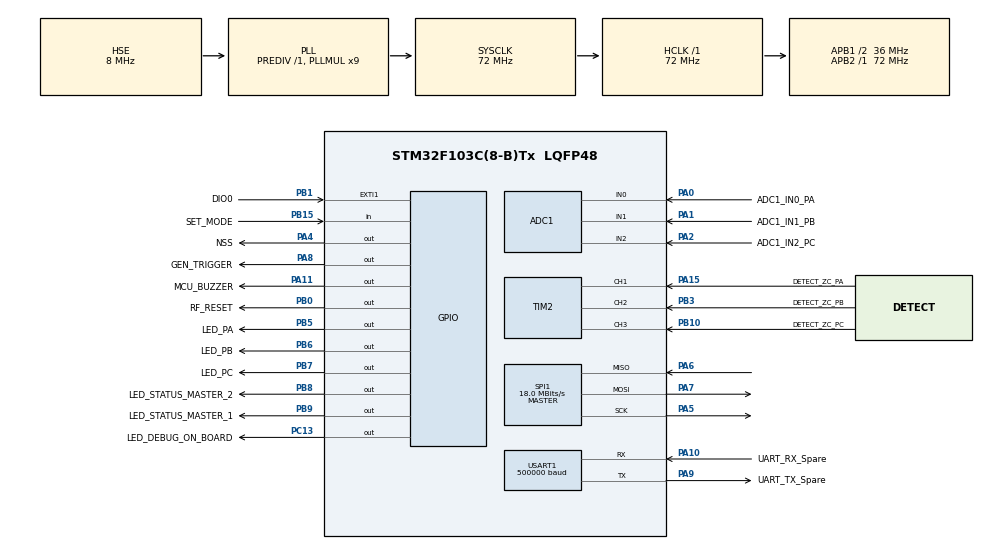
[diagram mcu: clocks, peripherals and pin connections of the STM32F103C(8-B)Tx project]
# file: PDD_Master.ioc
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ADC1.Channel-1\#ChannelRegularConversion=ADC_CHANNEL_0
ADC1.Channel-2\#ChannelRegularConversion=ADC_CHANNEL_1
ADC1.Channel-3\#ChannelRegularConversion=ADC_CHANNEL_2
ADC1.ContinuousConvMode=ENABLE
ADC1.NbrOfConversion=3
ADC1.NbrOfConversionFlag=1
ADC1.Rank-1\#ChannelRegularConversion=1
ADC1.Rank-2\#ChannelRegularConversion=2
ADC1.Rank-3\#ChannelRegularConversion=3
ADC1.SamplingTime-1\#ChannelRegularConversion=ADC_SAMPLETIME_55CYCLES_5
ADC1.SamplingTime-2\#ChannelRegularConversion=ADC_SAMPLETIME_55CYCLES_5
ADC1.SamplingTime-3\#ChannelRegularConversion=ADC_SAMPLETIME_55CYCLES_5
ADC1.master=1
Dma.ADC1.0.Direction=DMA_PERIPH_TO_MEMORY
Dma.ADC1.0.Instance=DMA1_Channel1
Dma.ADC1.0.MemDataAlignment=DMA_MDATAALIGN_HALFWORD
Dma.ADC1.0.MemInc=DMA_MINC_ENABLE
Dma.ADC1.0.Mode=DMA_CIRCULAR
Dma.ADC1.0.PeriphDataAlignment=DMA_PDATAALIGN_HALFWORD
Dma.ADC1.0.PeriphInc=DMA_PINC_DISABLE
Dma.ADC1.0.Priority=DMA_PRIORITY_LOW
Dma.Request0=ADC1
Dma.Request1=USART1_TX
Dma.USART1_TX.1.Direction=DMA_MEMORY_TO_PERIPH
Dma.USART1_TX.1.Instance=DMA1_Channel4
Dma.USART1_TX.1.MemDataAlignment=DMA_MDATAALIGN_BYTE
Dma.USART1_TX.1.MemInc=DMA_MINC_ENABLE
Dma.USART1_TX.1.Mode=DMA_NORMAL
Dma.USART1_TX.1.PeriphDataAlignment=DMA_PDATAALIGN_BYTE
Dma.USART1_TX.1.PeriphInc=DMA_PINC_DISABLE
Dma.USART1_TX.1.Priority=DMA_PRIORITY_LOW
Mcu.Family=STM32F1
Mcu.Name=STM32F103C(8-B)Tx
Mcu.Package=LQFP48
NVIC.DMA1_Channel1_IRQn=true\:0\:0\:false\:false\:true\:false\:true\:true
NVIC.DMA1_Channel4_IRQn=true\:0\:0\:false\:false\:true\:false\:true\:true
NVIC.EXTI1_IRQn=true\:0\:0\:false\:false\:true\:true\:true\:true
NVIC.PriorityGroup=NVIC_PRIORITYGROUP_4
NVIC.TIM1_UP_IRQn=true\:0\:0\:true\:false\:true\:true\:true\:true
NVIC.TIM3_IRQn=true\:1\:0\:true\:false\:true\:true\:true\:true
PA0-WKUP.GPIO_Label=ADC1_IN0_PA
PA0-WKUP.Signal=ADCx_IN0
PA1.GPIO_Label=ADC1_IN1_PB
PA1.Signal=ADCx_IN1
PA10.GPIO_Label=UART_RX_Spare
PA10.Mode=Asynchronous
PA10.Signal=USART1_RX
PA11.GPIO_Label=MCU_BUZZER
PA11.Signal=GPIO_Output
PA13.Mode=Serial_Wire
PA13.Signal=SYS_JTMS-SWDIO
PA14.Mode=Serial_Wire
PA14.Signal=SYS_JTCK-SWCLK
PA15.GPIO_Label=DETECT_ZC_PA
PA15.Signal=S_TIM2_CH1_ETR
PA2.GPIO_Label=ADC1_IN2_PC
PA2.Signal=ADCx_IN2
PA4.GPIO_Label=NSS
PA4.Signal=GPIO_Output
PA5.Mode=Full_Duplex_Master
PA5.Signal=SPI1_SCK
PA6.Mode=Full_Duplex_Master
PA6.Signal=SPI1_MISO
PA7.Mode=Full_Duplex_Master
PA7.Signal=SPI1_MOSI
PA8.GPIO_Label=GEN_TRIGGER
PA8.Signal=GPIO_Output
PA9.GPIO_Label=UART_TX_Spare
PA9.Mode=Asynchronous
PA9.Signal=USART1_TX
PB0.GPIO_Label=RF_RESET
PB0.Signal=GPIO_Output
PB1.GPIO_Label=DIO0
PB1.GPIO_PuPd=GPIO_PULLDOWN
PB1.Signal=GPXTI1
PB10.GPIO_Label=DETECT_ZC_PC
PB10.Signal=S_TIM2_CH3
PB15.GPIO_Label=SET_MODE
PB15.GPIO_PuPd=GPIO_PULLUP
PB15.Signal=GPIO_Input
PB3.GPIO_Label=DETECT_ZC_PB
PB3.Signal=S_TIM2_CH2
PB5.GPIO_Label=LED_PA
PB5.Signal=GPIO_Output
PB6.GPIO_Label=LED_PB
PB6.Signal=GPIO_Output
PB7.GPIO_Label=LED_PC
PB7.Signal=GPIO_Output
PB8.GPIO_Label=LED_STATUS_MASTER_2
PB8.Signal=GPIO_Output
PB9.GPIO_Label=LED_STATUS_MASTER_1
PB9.Signal=GPIO_Output
PC13-TAMPER-RTC.GPIO_Label=LED_DEBUG_ON_BOARD
PC13-TAMPER-RTC.Signal=GPIO_Output
PD0-OSC_IN.Mode=HSE-External-Oscillator
PD0-OSC_IN.Signal=RCC_OSC_IN
PD1-OSC_OUT.Mode=HSE-External-Oscillator
PD1-OSC_OUT.Signal=RCC_OSC_OUT
ProjectManager.HeapSize=0x200
ProjectManager.StackSize=0x400
ProjectManager.TargetToolchain=MDK-ARM V5.32
RCC.ADCPresc=RCC_ADCPCLK2_DIV6
RCC.AHBFreq_Value=72000000
RCC.APB1CLKDivider=RCC_HCLK_DIV2
RCC.APB1Freq_Value=36000000
RCC.APB1TimFreq_Value=72000000
RCC.APB2Freq_Value=72000000
RCC.APB2TimFreq_Value=72000000
RCC.HCLKFreq_Value=72000000
RCC.PLLMUL=RCC_PLL_MUL9
RCC.PLLSourceVirtual=RCC_PLLSOURCE_HSE
RCC.SYSCLKFreq_VALUE=72000000
RCC.SYSCLKSource=RCC_SYSCLKSOURCE_PLLCLK
RCC.USBFreq_Value=72000000
SH.ADCx_IN0.0=ADC1_IN0,IN0
SH.ADCx_IN1.0=ADC1_IN1,IN1
SH.ADCx_IN2.0=ADC1_IN2,IN2
SH.S_TIM2_CH1_ETR.0=TIM2_CH1,Input_Capture1_from_TI1
SH.S_TIM2_CH2.0=TIM2_CH2,Input_Capture2_from_TI2
SH.S_TIM2_CH3.0=TIM2_CH3,Input_Capture3_from_TI3
SPI1.BaudRatePrescaler=SPI_BAUDRATEPRESCALER_4
SPI1.CalculateBaudRate=18.0 MBits/s
SPI1.Direction=SPI_DIRECTION_2LINES
SPI1.Mode=SPI_MODE_MASTER
SPI1.VirtualType=VM_MASTER
TIM1.AutoReloadPreload=TIM_AUTORELOAD_PRELOAD_ENABLE
TIM1.Period=49
TIM1.Prescaler=71
TIM2.Channel-Input_Capture1_from_TI1=TIM_CHANNEL_1
TIM2.Channel-Input_Capture2_from_TI2=TIM_CHANNEL_2
TIM2.Channel-Input_Capture3_from_TI3=TIM_CHANNEL_3
TIM3.Prescaler=71
USART1.BaudRate=500000
USART1.VirtualMode=VM_ASYNC
VP_TIM1_VS_ClockSourceINT.Mode=Internal
VP_TIM3_VS_ClockSourceINT.Mode=Internal
board=custom

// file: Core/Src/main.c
/* USER CODE BEGIN Header */
/**
  ******************************************************************************
  * @file           : main.c
  * @brief          : Main program body
  ******************************************************************************
  * @attention
  *
  * Copyright (c) 2026 STMicroelectronics.
  * All rights reserved.
  *
  * This software is licensed under terms that can be found in the LICENSE file
  * in the root directory of this software component.
  * If no LICENSE file comes with this software, it is provided AS-IS.
  *
  ******************************************************************************
  */
/* USER CODE END Header */
#include "main.h"

/* USER CODE BEGIN Includes */

#include "LoRa.h"
#include <string.h>

#include <stdio.h>
#include <stdbool.h>

#include "flash.h"

/* USER CODE END Includes */

/* USER CODE BEGIN PD */

#define ON_LED_DEBUG( )	HAL_GPIO_WritePin(LED_DEBUG_ON_BOARD_GPIO_Port, LED_DEBUG_ON_BOARD_Pin, GPIO_PIN_SET)
#define OFF_LED_DEBUG( )	HAL_GPIO_WritePin(LED_DEBUG_ON_BOARD_GPIO_Port, LED_DEBUG_ON_BOARD_Pin, GPIO_PIN_RESET)
#define TOGGLE_LED_DEBUG( )	HAL_GPIO_TogglePin(LED_DEBUG_ON_BOARD_GPIO_Port, LED_DEBUG_ON_BOARD_Pin)

#define ON_LED_PA( )	HAL_GPIO_WritePin(LED_PA_GPIO_Port, LED_PA_Pin, GPIO_PIN_SET);
#define OFF_LED_PA( )	HAL_GPIO_WritePin(LED_PA_GPIO_Port, LED_PA_Pin, GPIO_PIN_RESET);

#define ON_LED_PB( )	HAL_GPIO_WritePin(LED_PB_GPIO_Port, LED_PB_Pin, GPIO_PIN_SET);
#define OFF_LED_PB( )	HAL_GPIO_WritePin(LED_PB_GPIO_Port, LED_PB_Pin, GPIO_PIN_RESET);

#define ON_LED_PC( )	HAL_GPIO_WritePin(LED_PC_GPIO_Port, LED_PC_Pin, GPIO_PIN_SET);
#define OFF_LED_PC( )	HAL_GPIO_WritePin(LED_PC_GPIO_Port, LED_PC_Pin, GPIO_PIN_RESET);

// Buzzer active
#define BUZZER_ON()  HAL_GPIO_WritePin(MCU_BUZZER_GPIO_Port, MCU_BUZZER_Pin, GPIO_PIN_SET);
#define BUZZER_OFF()  HAL_GPIO_WritePin(MCU_BUZZER_GPIO_Port, MCU_BUZZER_Pin, GPIO_PIN_RESET);

#define MA_SIZE_PHASE_ZC 5

//#define ZERO_PA 1984
//#define ZERO_PB 1984
//#define ZERO_PC 1978

#define CYCLE_GRID 20000

#define RANGE_GRID_L 19000        // 5%
#define RANGE_GRID_H 21000

#define TIME_DET_PHASE 100   // 2s
#define LOSS_GRID_TIMEOUT 2500   //   100ms/0.1ms = 1000
#define TIME_SEND_CYCLE   2000000   // 2s

typedef struct
{
    uint16_t buf[MA_SIZE_PHASE_ZC];
    uint32_t sum;
    uint8_t index;
} MA_Filter_t;

typedef enum
{
  MODE_OFF = 0,
  MODE_STS_1 = 1,
  MODE_STS_2 = 2,

  MODE_SET_FLASH_1 = 3,
  MODE_FLASH_1 = 4,

  MODE_SET_FLASH_2 = 5,
  MODE_FLASH_2 = 6,
}MODE_LED_e;

typedef enum
{
  BUZZER_OFF = 0,
  BUZZER_ON = 1,
  BUZZER_SET_TRIGGER_PIP = 2,
  BUZZER_TRIGGER_PIP = 3,
}MODE_BUZZER_e;

typedef enum
{
  WAIT_NEG = 1,
  WAIT_ZC_UP = 2,
  WAIT_POS = 3,
  LOSS_GRID = 4,
}MODE_DETECT_e;

typedef struct {
  volatile uint16_t* adc_raw_ptr;       // Trỏ tới adc_raw[x]
  MA_Filter_t filter;         // Trỏ tới bộ lọc tương ứng
  uint16_t zero_val;     // Giá trị ZERO_PX
  volatile bool phase_detected;
  volatile uint16_t p_cur;
  volatile uint16_t p_prev;
  volatile uint16_t cnt_detect;
  volatile uint32_t last_zc;
  volatile uint32_t now_zc;
  volatile uint32_t interval_zc;
  volatile bool has_new_edge;          // Cờ báo hiệu có cạnh lên mới cho Main xử lý

  volatile MODE_DETECT_e mode_det;
  volatile uint16_t cnt_det_loss_grid;
} Phase_Data_t;

/* USER CODE END PD */

ADC_HandleTypeDef hadc1;
DMA_HandleTypeDef hdma_adc1;

SPI_HandleTypeDef hspi1;

TIM_HandleTypeDef htim1;
TIM_HandleTypeDef htim2;
TIM_HandleTypeDef htim3;

UART_HandleTypeDef huart1;
DMA_HandleTypeDef hdma_usart1_tx;

/* USER CODE BEGIN PV */

// Count variables and flags
uint32_t tick_master = 0;
volatile uint32_t cnt_send_cmd = 0;
volatile uint32_t ovf_tim3 = 0;

uint32_t cycle_send = TIME_SEND_CYCLE/50;

volatile uint8_t flag_cnt_50us = 0;
volatile bool flag_enable_zc = false;

// LED
volatile MODE_LED_e mode_led = MODE_OFF;
volatile uint16_t cnt_handle_led = 0;

//BUZZER PASSIVE
volatile MODE_BUZZER_e mode_buzzer = BUZZER_OFF;
volatile uint16_t cnt_handle_buzzer = 0;

//LoRa variables
LoRa vLoRa;
uint16_t config_lora = 0xFA;

uint8_t TX_Lora_buff[12];
uint8_t RX_LoRa_buff[12];

uint8_t send_ok = 0;
uint16_t cnt_sendOK = 0;
uint16_t cnt_recOK = 0;
volatile uint16_t num_RX_irq_LoRa = 0;
volatile bool flag_Lora_Rx = false;
volatile bool flag_send_lora = false;

// Phase variables
Phase_Data_t phaseA, phaseB, phaseC;

volatile uint16_t delta_pAB = 0, delta_pAC = 0;

// ADC measurement variables
volatile uint16_t adc_raw[3];

// For calib ADC at zeropoint
uint8_t flag_get_zero = 0;
uint16_t offset_pA = 0;
uint16_t offset_pB = 0;
uint16_t offset_pC = 0;

// For logging
uint32_t stt = 0;
uint8_t flag_tx_log = 0;
uint32_t cnt_log = 0;
char uart_tx_log[100];

// temp variables

/* USER CODE END PV */

void SystemClock_Config(void);
static void MX_GPIO_Init(void);
static void MX_DMA_Init(void);
static void MX_TIM1_Init(void);
static void MX_USART1_UART_Init(void);
static void MX_ADC1_Init(void);
static void MX_SPI1_Init(void);
static void MX_TIM3_Init(void);
static void MX_TIM2_Init(void);

/* USER CODE BEGIN 0 */
void Get_Offset(void);
void Handle_LED(void);
void Handle_Buzzer(void);
void Handle_LoRa_TX(void);
void OFF_LED_STATUS(void);
void ON_LED_STATUS_1(void);
void ON_LED_STATUS_2(void);
void MA_Init(MA_Filter_t *f, uint16_t init_value);
uint16_t MA_Update(MA_Filter_t *f, uint16_t sample);

uint32_t GetTimeUs(){
  uint32_t ovf1, ovf2;
  uint32_t cnt;

  do {
    ovf1 = ovf_tim3;
    cnt = TIM3->CNT;
    ovf2 = ovf_tim3;
  } while (ovf1 != ovf2); // Guard against rollover during reading

  return (ovf1 << 16) + cnt;
}

void Phase_init(Phase_Data_t* p_data, volatile  uint16_t* adc_raw_ptr, uint16_t zero_val){
    p_data->adc_raw_ptr = adc_raw_ptr;
    p_data->zero_val = zero_val;
    p_data->p_cur = 0;
    p_data->p_prev = 0;
    p_data->cnt_detect = 0;
    p_data->last_zc = 0;
    p_data->now_zc = 0;
    p_data->interval_zc = 0;
    p_data->phase_detected = false;
    p_data->has_new_edge = false;
    MA_Init(&p_data->filter, zero_val);

    p_data->mode_det = WAIT_NEG;
    p_data->cnt_det_loss_grid = 0;
}

static inline void Process_Phase_ZC(Phase_Data_t *phase, uint32_t now_time)
{
    phase->p_cur = MA_Update(&phase->filter, *(phase->adc_raw_ptr));

    if(phase->phase_detected){
      if(++phase->cnt_det_loss_grid >= LOSS_GRID_TIMEOUT) {
        phase->mode_det = LOSS_GRID;
        phase->cnt_det_loss_grid = 0;
      }
    }

    switch(phase->mode_det)
    {
      case WAIT_NEG:
        if (phase->p_cur < phase->zero_val - 100)
        {
          if(phase->phase_detected == true){
            phase->mode_det = WAIT_ZC_UP;
          }else{
            phase->mode_det = WAIT_POS;
          }
        }
        break;
      case WAIT_POS:
        if (phase->p_cur > phase->zero_val + 100)
        {
          if(++phase->cnt_detect == TIME_DET_PHASE){
            phase->phase_detected = true;
						mode_buzzer = BUZZER_SET_TRIGGER_PIP;   // only on MASTER
          }
          phase->mode_det = WAIT_NEG;
        }
        break;
      case WAIT_ZC_UP:
			{
        uint32_t itv_lZC = now_time - phase->last_zc;

        /* Rising Zero-Cross */
        if (phase->p_prev <= phase->zero_val && phase->p_cur>phase->zero_val)
        {
            /* First edge after startup or loss-grid */
            if (phase->last_zc == 0U)
            {
                phase->last_zc = now_time;
            }
            else
            {
                while(itv_lZC > RANGE_GRID_H){
                  itv_lZC -= CYCLE_GRID;
                }
                if ((itv_lZC >= RANGE_GRID_L) && (itv_lZC <= RANGE_GRID_H))
                {
                  phase->now_zc       = now_time;
                  phase->interval_zc  = itv_lZC;

                  phase->has_new_edge = true;
                  phase->last_zc = now_time;
                  phase->cnt_det_loss_grid = 0;
                }
            }
            phase->mode_det = WAIT_NEG;
        }
        phase->p_prev = phase->p_cur;
        break;
			}
      case LOSS_GRID:
        phase->phase_detected = false;
        phase->cnt_detect  = 0;
        phase->last_zc     = 0;
        phase->now_zc = 0;
        phase->mode_det = WAIT_NEG;
        break;
    }
}

void HAL_TIM_PeriodElapsedCallback(TIM_HandleTypeDef *htim)
{
  if (htim->Instance == TIM1) //50us
  {
    if(phaseA.phase_detected) cnt_send_cmd++;
    else cnt_send_cmd = 0;
    cnt_handle_led++;
    cnt_handle_buzzer++;

		if(++flag_cnt_50us >= 2)    //100us
    {
      uint32_t now_time = GetTimeUs();
      flag_cnt_50us = 0;

      Process_Phase_ZC(&phaseA, now_time);
      Process_Phase_ZC(&phaseB, now_time);
      Process_Phase_ZC(&phaseC, now_time);

      // Nếu Pha A có cạnh lên và đang đợi kiểm tra đồng bộ ZC
      if (phaseA.has_new_edge)
      {
        phaseA.has_new_edge = false; // Xóa cờ ngay
        if (flag_enable_zc)
        {
          flag_enable_zc = false;
          if (phaseA.phase_detected)
          {
            delta_pAB = 1;
            delta_pAC = 2;
            if(phaseB.phase_detected && phaseC.phase_detected)
            {
              delta_pAB = phaseA.now_zc - phaseB.last_zc;
              delta_pAC = phaseA.now_zc - phaseC.last_zc;
            }
            flag_send_lora = true;
          }
        }
      }
      phaseB.has_new_edge = false;
      phaseC.has_new_edge = false;
    }
  }

  if(htim->Instance == TIM3)
  {
    ovf_tim3++;
  }
}

void HAL_GPIO_EXTI_Callback(uint16_t GPIO_Pin)
	{
		/* Prevent unused argument(s) compilation warning */
		UNUSED(GPIO_Pin);

//		if(GPIO_Pin == vLoRa.DIO0_pin)
//		{
//			num_RX_irq_LoRa++;
//			flag_Lora_Rx = 1;
//		}
	}

/* USER CODE END 0 */

int main(void)
{

  /* MCU Configuration--------------------------------------------------------*/

  /* Reset of all peripherals, Initializes the Flash interface and the Systick. */
  HAL_Init();

  /* Configure the system clock */
  SystemClock_Config();

  /* Initialize all configured peripherals */
  MX_GPIO_Init();
  MX_DMA_Init();
  MX_TIM1_Init();
  MX_USART1_UART_Init();
  MX_ADC1_Init();
  MX_SPI1_Init();
  MX_TIM3_Init();
  MX_TIM2_Init();
  /* USER CODE BEGIN 2 */
  ON_LED_DEBUG();
  ON_LED_STATUS_1();

	ON_LED_PA();
  ON_LED_PB();
  ON_LED_PC();

	Lora_Init(&vLoRa, &hspi1, 912);
	LoRa_reset(&vLoRa);
	config_lora = LoRa_Config(&vLoRa);

	while(config_lora!=0x00C8){
		ON_LED_DEBUG();
    Lora_Init(&vLoRa, &hspi1, 912);
	  LoRa_reset(&vLoRa);
    config_lora = LoRa_Config(&vLoRa);
		OFF_LED_DEBUG();
		HAL_Delay(15);
	}
  LoRa_startReceiving(&vLoRa);
  // Config Lora ok
  OFF_LED_DEBUG();
  OFF_LED_STATUS();

	Load_Infor_Func();

	Phase_init(&phaseA, &adc_raw[0], vInfor_cache.zero_pA);
  Phase_init(&phaseB, &adc_raw[1], vInfor_cache.zero_pB);
  Phase_init(&phaseC, &adc_raw[2], vInfor_cache.zero_pC);

  HAL_ADC_Start_DMA(&hadc1, (uint32_t*)&adc_raw, 3);

  BUZZER_ON(); HAL_Delay(30);
	BUZZER_OFF(); HAL_Delay(100);
  OFF_LED_PA();
	BUZZER_ON(); HAL_Delay(30);
	BUZZER_OFF(); HAL_Delay(100);
  OFF_LED_PB();
	BUZZER_ON(); HAL_Delay(30);
	BUZZER_OFF(); HAL_Delay(100);
  OFF_LED_PC();

  HAL_TIM_Base_Start_IT(&htim1);
  HAL_TIM_Base_Start_IT(&htim3);

  uint16_t cnt_get_zero = 0;
	while(HAL_GPIO_ReadPin(SET_MODE_GPIO_Port, SET_MODE_Pin) == GPIO_PIN_RESET){
		if(++cnt_get_zero == 3000){
			flag_get_zero = true;
			break;
		}
	}
  HAL_GPIO_WritePin(GEN_TRIGGER_GPIO_Port, GEN_TRIGGER_Pin, GPIO_PIN_RESET);

  /* USER CODE END 2 */

  /* Infinite loop */
  while (1)
  {

    /* USER CODE BEGIN 3 */
		tick_master++;

    // Set Flag send command to LoRa module
		if(cnt_send_cmd >= cycle_send){
			cnt_send_cmd = 0;
			//HAL_GPIO_TogglePin(LED_DEBUG_ON_BOARD_GPIO_Port, LED_DEBUG_ON_BOARD_Pin);
      flag_enable_zc = true;
    }

    // Send Lora data ------------------------------------------------------------------
		Handle_LoRa_TX();

    // Handle LED status
    Handle_LED();

    // Handle Buzzer
    Handle_Buzzer();

    // Get offset for ADC measurement
    Get_Offset();

  }
  /* USER CODE END 3 */
}

void SystemClock_Config(void)
{
  RCC_OscInitTypeDef RCC_OscInitStruct = {0};
  RCC_ClkInitTypeDef RCC_ClkInitStruct = {0};
  RCC_PeriphCLKInitTypeDef PeriphClkInit = {0};

  /** Initializes the RCC Oscillators according to the specified parameters
  * in the RCC_OscInitTypeDef structure.
  */
  RCC_OscInitStruct.OscillatorType = RCC_OSCILLATORTYPE_HSE;
  RCC_OscInitStruct.HSEState = RCC_HSE_ON;
  RCC_OscInitStruct.HSEPredivValue = RCC_HSE_PREDIV_DIV1;
  RCC_OscInitStruct.HSIState = RCC_HSI_ON;
  RCC_OscInitStruct.PLL.PLLState = RCC_PLL_ON;
  RCC_OscInitStruct.PLL.PLLSource = RCC_PLLSOURCE_HSE;
  RCC_OscInitStruct.PLL.PLLMUL = RCC_PLL_MUL9;
  if (HAL_RCC_OscConfig(&RCC_OscInitStruct) != HAL_OK)
  {
    Error_Handler();
  }

  /** Initializes the CPU, AHB and APB buses clocks
  */
  RCC_ClkInitStruct.ClockType = RCC_CLOCKTYPE_HCLK|RCC_CLOCKTYPE_SYSCLK
                              |RCC_CLOCKTYPE_PCLK1|RCC_CLOCKTYPE_PCLK2;
  RCC_ClkInitStruct.SYSCLKSource = RCC_SYSCLKSOURCE_PLLCLK;
  RCC_ClkInitStruct.AHBCLKDivider = RCC_SYSCLK_DIV1;
  RCC_ClkInitStruct.APB1CLKDivider = RCC_HCLK_DIV2;
  RCC_ClkInitStruct.APB2CLKDivider = RCC_HCLK_DIV1;

  if (HAL_RCC_ClockConfig(&RCC_ClkInitStruct, FLASH_LATENCY_2) != HAL_OK)
  {
    Error_Handler();
  }
  PeriphClkInit.PeriphClockSelection = RCC_PERIPHCLK_ADC;
  PeriphClkInit.AdcClockSelection = RCC_ADCPCLK2_DIV6;
  if (HAL_RCCEx_PeriphCLKConfig(&PeriphClkInit) != HAL_OK)
  {
    Error_Handler();
  }
}

static void MX_ADC1_Init(void)
{

  ADC_ChannelConfTypeDef sConfig = {0};

  /** Common config
  */
  hadc1.Instance = ADC1;
  hadc1.Init.ScanConvMode = ADC_SCAN_ENABLE;
  hadc1.Init.ContinuousConvMode = ENABLE;
  hadc1.Init.DiscontinuousConvMode = DISABLE;
  hadc1.Init.ExternalTrigConv = ADC_SOFTWARE_START;
  hadc1.Init.DataAlign = ADC_DATAALIGN_RIGHT;
  hadc1.Init.NbrOfConversion = 3;
  if (HAL_ADC_Init(&hadc1) != HAL_OK)
  {
    Error_Handler();
  }

  /** Configure Regular Channel
  */
  sConfig.Channel = ADC_CHANNEL_0;
  sConfig.Rank = ADC_REGULAR_RANK_1;
  sConfig.SamplingTime = ADC_SAMPLETIME_55CYCLES_5;
  if (HAL_ADC_ConfigChannel(&hadc1, &sConfig) != HAL_OK)
  {
    Error_Handler();
  }

  /** Configure Regular Channel
  */
  sConfig.Channel = ADC_CHANNEL_1;
  sConfig.Rank = ADC_REGULAR_RANK_2;
  if (HAL_ADC_ConfigChannel(&hadc1, &sConfig) != HAL_OK)
  {
    Error_Handler();
  }

  /** Configure Regular Channel
  */
  sConfig.Channel = ADC_CHANNEL_2;
  sConfig.Rank = ADC_REGULAR_RANK_3;
  if (HAL_ADC_ConfigChannel(&hadc1, &sConfig) != HAL_OK)
  {
    Error_Handler();
  }

}

static void MX_SPI1_Init(void)
{

  /* SPI1 parameter configuration*/
  hspi1.Instance = SPI1;
  hspi1.Init.Mode = SPI_MODE_MASTER;
  hspi1.Init.Direction = SPI_DIRECTION_2LINES;
  hspi1.Init.DataSize = SPI_DATASIZE_8BIT;
  hspi1.Init.CLKPolarity = SPI_POLARITY_LOW;
  hspi1.Init.CLKPhase = SPI_PHASE_1EDGE;
  hspi1.Init.NSS = SPI_NSS_SOFT;
  hspi1.Init.BaudRatePrescaler = SPI_BAUDRATEPRESCALER_4;
  hspi1.Init.FirstBit = SPI_FIRSTBIT_MSB;
  hspi1.Init.TIMode = SPI_TIMODE_DISABLE;
  hspi1.Init.CRCCalculation = SPI_CRCCALCULATION_DISABLE;
  hspi1.Init.CRCPolynomial = 10;
  if (HAL_SPI_Init(&hspi1) != HAL_OK)
  {
    Error_Handler();
  }

}

static void MX_TIM1_Init(void)
{

  TIM_ClockConfigTypeDef sClockSourceConfig = {0};
  TIM_MasterConfigTypeDef sMasterConfig = {0};

  htim1.Instance = TIM1;
  htim1.Init.Prescaler = 71;
  htim1.Init.CounterMode = TIM_COUNTERMODE_UP;
  htim1.Init.Period = 49;
  htim1.Init.ClockDivision = TIM_CLOCKDIVISION_DIV1;
  htim1.Init.RepetitionCounter = 0;
  htim1.Init.AutoReloadPreload = TIM_AUTORELOAD_PRELOAD_ENABLE;
  if (HAL_TIM_Base_Init(&htim1) != HAL_OK)
  {
    Error_Handler();
  }
  sClockSourceConfig.ClockSource = TIM_CLOCKSOURCE_INTERNAL;
  if (HAL_TIM_ConfigClockSource(&htim1, &sClockSourceConfig) != HAL_OK)
  {
    Error_Handler();
  }
  sMasterConfig.MasterOutputTrigger = TIM_TRGO_RESET;
  sMasterConfig.MasterSlaveMode = TIM_MASTERSLAVEMODE_DISABLE;
  if (HAL_TIMEx_MasterConfigSynchronization(&htim1, &sMasterConfig) != HAL_OK)
  {
    Error_Handler();
  }

}

static void MX_TIM2_Init(void)
{

  TIM_MasterConfigTypeDef sMasterConfig = {0};
  TIM_IC_InitTypeDef sConfigIC = {0};

  htim2.Instance = TIM2;
  htim2.Init.Prescaler = 0;
  htim2.Init.CounterMode = TIM_COUNTERMODE_UP;
  htim2.Init.Period = 65535;
  htim2.Init.ClockDivision = TIM_CLOCKDIVISION_DIV1;
  htim2.Init.AutoReloadPreload = TIM_AUTORELOAD_PRELOAD_DISABLE;
  if (HAL_TIM_IC_Init(&htim2) != HAL_OK)
  {
    Error_Handler();
  }
  sMasterConfig.MasterOutputTrigger = TIM_TRGO_RESET;
  sMasterConfig.MasterSlaveMode = TIM_MASTERSLAVEMODE_DISABLE;
  if (HAL_TIMEx_MasterConfigSynchronization(&htim2, &sMasterConfig) != HAL_OK)
  {
    Error_Handler();
  }
  sConfigIC.ICPolarity = TIM_INPUTCHANNELPOLARITY_RISING;
  sConfigIC.ICSelection = TIM_ICSELECTION_DIRECTTI;
  sConfigIC.ICPrescaler = TIM_ICPSC_DIV1;
  sConfigIC.ICFilter = 0;
  if (HAL_TIM_IC_ConfigChannel(&htim2, &sConfigIC, TIM_CHANNEL_1) != HAL_OK)
  {
    Error_Handler();
  }
  if (HAL_TIM_IC_ConfigChannel(&htim2, &sConfigIC, TIM_CHANNEL_2) != HAL_OK)
  {
    Error_Handler();
  }
  if (HAL_TIM_IC_ConfigChannel(&htim2, &sConfigIC, TIM_CHANNEL_3) != HAL_OK)
  {
    Error_Handler();
  }

}

static void MX_TIM3_Init(void)
{

  TIM_ClockConfigTypeDef sClockSourceConfig = {0};
  TIM_MasterConfigTypeDef sMasterConfig = {0};

  htim3.Instance = TIM3;
  htim3.Init.Prescaler = 71;
  htim3.Init.CounterMode = TIM_COUNTERMODE_UP;
  htim3.Init.Period = 65535;
  htim3.Init.ClockDivision = TIM_CLOCKDIVISION_DIV1;
  htim3.Init.AutoReloadPreload = TIM_AUTORELOAD_PRELOAD_DISABLE;
  if (HAL_TIM_Base_Init(&htim3) != HAL_OK)
  {
    Error_Handler();
  }
  sClockSourceConfig.ClockSource = TIM_CLOCKSOURCE_INTERNAL;
  if (HAL_TIM_ConfigClockSource(&htim3, &sClockSourceConfig) != HAL_OK)
  {
    Error_Handler();
  }
  sMasterConfig.MasterOutputTrigger = TIM_TRGO_RESET;
  sMasterConfig.MasterSlaveMode = TIM_MASTERSLAVEMODE_DISABLE;
  if (HAL_TIMEx_MasterConfigSynchronization(&htim3, &sMasterConfig) != HAL_OK)
  {
    Error_Handler();
  }

}

static void MX_USART1_UART_Init(void)
{

  huart1.Instance = USART1;
  huart1.Init.BaudRate = 500000;
  huart1.Init.WordLength = UART_WORDLENGTH_8B;
  huart1.Init.StopBits = UART_STOPBITS_1;
  huart1.Init.Parity = UART_PARITY_NONE;
  huart1.Init.Mode = UART_MODE_TX_RX;
  huart1.Init.HwFlowCtl = UART_HWCONTROL_NONE;
  huart1.Init.OverSampling = UART_OVERSAMPLING_16;
  if (HAL_UART_Init(&huart1) != HAL_OK)
  {
    Error_Handler();
  }

}

static void MX_DMA_Init(void)
{

  /* DMA controller clock enable */
  __HAL_RCC_DMA1_CLK_ENABLE();

  /* DMA interrupt init */
  /* DMA1_Channel1_IRQn interrupt configuration */
  HAL_NVIC_SetPriority(DMA1_Channel1_IRQn, 0, 0);
  HAL_NVIC_EnableIRQ(DMA1_Channel1_IRQn);
  /* DMA1_Channel4_IRQn interrupt configuration */
  HAL_NVIC_SetPriority(DMA1_Channel4_IRQn, 0, 0);
  HAL_NVIC_EnableIRQ(DMA1_Channel4_IRQn);

}

static void MX_GPIO_Init(void)
{
  GPIO_InitTypeDef GPIO_InitStruct = {0};

  /* GPIO Ports Clock Enable */
  __HAL_RCC_GPIOC_CLK_ENABLE();
  __HAL_RCC_GPIOD_CLK_ENABLE();
  __HAL_RCC_GPIOA_CLK_ENABLE();
  __HAL_RCC_GPIOB_CLK_ENABLE();

  /*Configure GPIO pin Output Level */
  HAL_GPIO_WritePin(LED_DEBUG_ON_BOARD_GPIO_Port, LED_DEBUG_ON_BOARD_Pin, GPIO_PIN_RESET);

  /*Configure GPIO pin Output Level */
  HAL_GPIO_WritePin(GPIOA, NSS_Pin|GEN_TRIGGER_Pin|MCU_BUZZER_Pin, GPIO_PIN_RESET);

  /*Configure GPIO pin Output Level */
  HAL_GPIO_WritePin(GPIOB, RF_RESET_Pin|LED_PA_Pin|LED_PB_Pin|LED_PC_Pin
                          |LED_STATUS_MASTER_2_Pin|LED_STATUS_MASTER_1_Pin, GPIO_PIN_RESET);

  /*Configure GPIO pin : LED_DEBUG_ON_BOARD_Pin */
  GPIO_InitStruct.Pin = LED_DEBUG_ON_BOARD_Pin;
  GPIO_InitStruct.Mode = GPIO_MODE_OUTPUT_PP;
  GPIO_InitStruct.Pull = GPIO_NOPULL;
  GPIO_InitStruct.Speed = GPIO_SPEED_FREQ_LOW;
  HAL_GPIO_Init(LED_DEBUG_ON_BOARD_GPIO_Port, &GPIO_InitStruct);

  /*Configure GPIO pins : NSS_Pin GEN_TRIGGER_Pin MCU_BUZZER_Pin */
  GPIO_InitStruct.Pin = NSS_Pin|GEN_TRIGGER_Pin|MCU_BUZZER_Pin;
  GPIO_InitStruct.Mode = GPIO_MODE_OUTPUT_PP;
  GPIO_InitStruct.Pull = GPIO_NOPULL;
  GPIO_InitStruct.Speed = GPIO_SPEED_FREQ_LOW;
  HAL_GPIO_Init(GPIOA, &GPIO_InitStruct);

  /*Configure GPIO pins : RF_RESET_Pin LED_PA_Pin LED_PB_Pin LED_PC_Pin
                           LED_STATUS_MASTER_2_Pin LED_STATUS_MASTER_1_Pin */
  GPIO_InitStruct.Pin = RF_RESET_Pin|LED_PA_Pin|LED_PB_Pin|LED_PC_Pin
                          |LED_STATUS_MASTER_2_Pin|LED_STATUS_MASTER_1_Pin;
  GPIO_InitStruct.Mode = GPIO_MODE_OUTPUT_PP;
  GPIO_InitStruct.Pull = GPIO_NOPULL;
  GPIO_InitStruct.Speed = GPIO_SPEED_FREQ_LOW;
  HAL_GPIO_Init(GPIOB, &GPIO_InitStruct);

  /*Configure GPIO pin : DIO0_Pin */
  GPIO_InitStruct.Pin = DIO0_Pin;
  GPIO_InitStruct.Mode = GPIO_MODE_IT_RISING;
  GPIO_InitStruct.Pull = GPIO_PULLDOWN;
  HAL_GPIO_Init(DIO0_GPIO_Port, &GPIO_InitStruct);

  /*Configure GPIO pin : SET_MODE_Pin */
  GPIO_InitStruct.Pin = SET_MODE_Pin;
  GPIO_InitStruct.Mode = GPIO_MODE_INPUT;
  GPIO_InitStruct.Pull = GPIO_PULLUP;
  HAL_GPIO_Init(SET_MODE_GPIO_Port, &GPIO_InitStruct);

  /* EXTI interrupt init*/
  HAL_NVIC_SetPriority(EXTI1_IRQn, 0, 0);
  HAL_NVIC_EnableIRQ(EXTI1_IRQn);

}

/* USER CODE BEGIN 4 */

void Get_Offset(void)
{
  if(flag_get_zero == 0) return;
	flag_get_zero = 0;

  uint32_t sumA = 0;
  uint32_t sumB = 0;
  uint32_t sumC = 0;

  for(int i=0; i<1000; i++)
  {
    sumA += adc_raw[0];
    sumB += adc_raw[1];
    sumC += adc_raw[2];
    HAL_Delay(1);
  }

  offset_pA = sumA / 1000;
  offset_pB = sumB / 1000;
  offset_pC = sumC / 1000;

  vInfor_cache.zero_pA = offset_pA;
  vInfor_cache.zero_pB = offset_pB;
  vInfor_cache.zero_pC = offset_pC;
  if(Update_NEW_Infor() == UPDATE_SUCCESS){
    mode_buzzer = BUZZER_ON;
  }else{
    while(1){
      ON_LED_PA();ON_LED_PB();ON_LED_PC();BUZZER_ON();
      HAL_Delay(100);
      OFF_LED_PA();OFF_LED_PB();OFF_LED_PC();BUZZER_OFF();
      HAL_Delay(100);
    }
  }
}

void OFF_LED_STATUS(void)
{
  HAL_GPIO_WritePin(LED_STATUS_MASTER_1_GPIO_Port, LED_STATUS_MASTER_1_Pin, GPIO_PIN_RESET);
  HAL_GPIO_WritePin(LED_STATUS_MASTER_2_GPIO_Port, LED_STATUS_MASTER_2_Pin, GPIO_PIN_RESET);
}

void ON_LED_STATUS_1(void)
{
  HAL_GPIO_WritePin(LED_STATUS_MASTER_1_GPIO_Port, LED_STATUS_MASTER_1_Pin, GPIO_PIN_SET);
  HAL_GPIO_WritePin(LED_STATUS_MASTER_2_GPIO_Port, LED_STATUS_MASTER_2_Pin, GPIO_PIN_RESET);
}

void ON_LED_STATUS_2(void)
{
  HAL_GPIO_WritePin(LED_STATUS_MASTER_1_GPIO_Port, LED_STATUS_MASTER_1_Pin, GPIO_PIN_RESET);
  HAL_GPIO_WritePin(LED_STATUS_MASTER_2_GPIO_Port, LED_STATUS_MASTER_2_Pin, GPIO_PIN_SET);
}

void Handle_LED(void)
{
  if(phaseA.phase_detected){ON_LED_PA();}
	else{OFF_LED_PA();}

	if(phaseB.phase_detected){ON_LED_PB();}
	else{OFF_LED_PB();}

	if(phaseC.phase_detected){ON_LED_PC();}
	else{OFF_LED_PC();}

  switch(mode_led)
  {
    case MODE_OFF:
      OFF_LED_STATUS();
      break;
    case MODE_STS_1:
      ON_LED_STATUS_1();
      break;
    case MODE_STS_2:
      ON_LED_STATUS_2();
      break;
    case MODE_SET_FLASH_1:
      cnt_handle_led = 0;
      ON_LED_STATUS_1();
      mode_led = MODE_FLASH_1;
      break;
    case MODE_FLASH_1:
      if(cnt_handle_led >= 600){			// 30ms
        cnt_handle_led = 0;
        mode_led = MODE_OFF;
      }
      break;
    case MODE_SET_FLASH_2:
      cnt_handle_led = 0;
      ON_LED_STATUS_2();
      mode_led = MODE_FLASH_2;
      break;
    case MODE_FLASH_2:
      if(cnt_handle_led >= 600){			// 30ms
        cnt_handle_led = 0;
        mode_led = MODE_OFF;
      }
      break;
    default:
      break;
  }
}

void Handle_Buzzer(void)
{
  switch(mode_buzzer)
  {
    case BUZZER_OFF:
      BUZZER_OFF();
      break;
    case BUZZER_ON:
			BUZZER_ON();
      break;
    case BUZZER_SET_TRIGGER_PIP:
      // Initialize pip mode
      cnt_handle_buzzer = 0;
			BUZZER_ON();
      mode_buzzer = BUZZER_TRIGGER_PIP;
      break;
    case BUZZER_TRIGGER_PIP:
      if(cnt_handle_buzzer >= 3000)					// 3000*0.00005
      {
        mode_buzzer = BUZZER_OFF;
      }
      break;
    default:
      break;
  }
}

void Handle_LoRa_TX(void)
{
	if(!flag_send_lora) return;
	flag_send_lora = false;

	TX_Lora_buff[0] = 0xAA;
	TX_Lora_buff[1] = 0;
	TX_Lora_buff[2] = (delta_pAB%CYCLE_GRID)/100;
	TX_Lora_buff[3] = (delta_pAC%CYCLE_GRID)/100;
	TX_Lora_buff[4] = TX_Lora_buff[0] + TX_Lora_buff[1] + TX_Lora_buff[2] + TX_Lora_buff[3];

  HAL_GPIO_WritePin(GEN_TRIGGER_GPIO_Port, GEN_TRIGGER_Pin, GPIO_PIN_SET);
	send_ok = LoRa_transmit(&vLoRa, (uint8_t*)TX_Lora_buff, 5, 10000000);
  HAL_GPIO_WritePin(GEN_TRIGGER_GPIO_Port, GEN_TRIGGER_Pin, GPIO_PIN_RESET);

	if(send_ok == 1){
		HAL_GPIO_TogglePin(LED_DEBUG_ON_BOARD_GPIO_Port, LED_DEBUG_ON_BOARD_Pin);
		cnt_sendOK++;
		mode_led = MODE_SET_FLASH_1;
		//mode_buzzer = BUZZER_SET_TRIGGER_PIP;
	}
}

void MA_Init(MA_Filter_t *f, uint16_t init_value)
{
    f->sum = 0;
    f->index = 0;

    for(int i=0; i<MA_SIZE_PHASE_ZC; i++)
    {
        f->buf[i] = init_value;
        f->sum += init_value;
    }
}

uint16_t MA_Update(MA_Filter_t *f, uint16_t sample)
{
    f->sum -= f->buf[f->index];
    f->buf[f->index] = sample;
    f->sum += sample;
    f->index++;
    if(f->index >= MA_SIZE_PHASE_ZC)
        f->index = 0;
    return f->sum / MA_SIZE_PHASE_ZC;
}

/* USER CODE END 4 */

void Error_Handler(void)
{
  __disable_irq();
  while (1)
  {
  }
}
